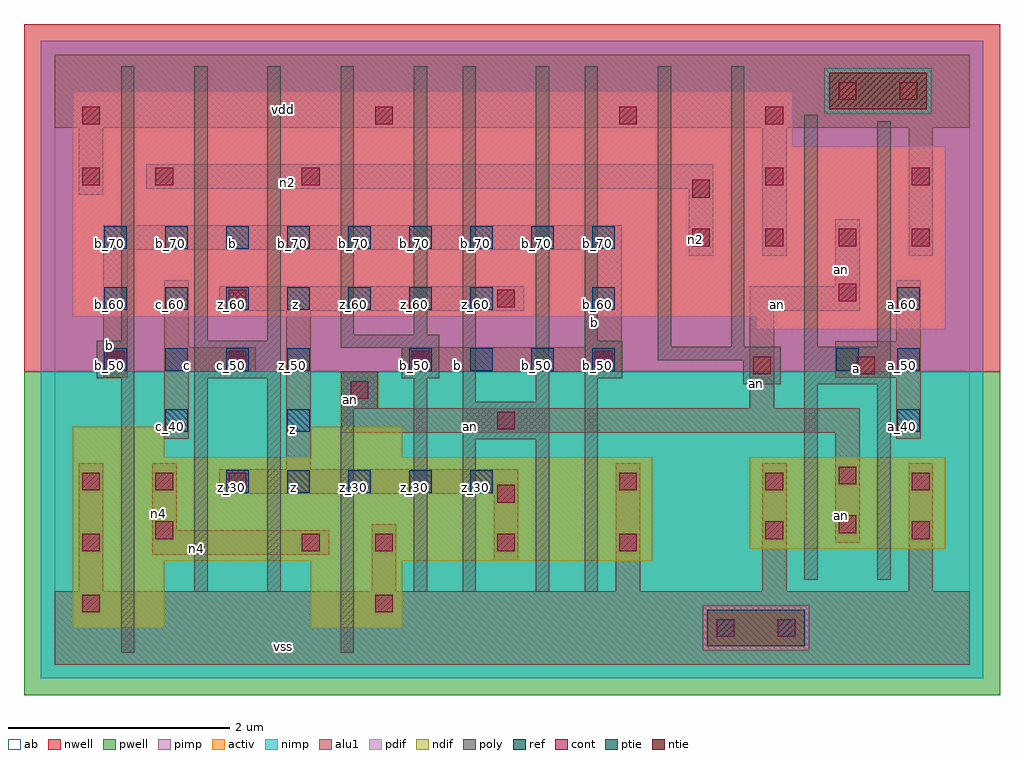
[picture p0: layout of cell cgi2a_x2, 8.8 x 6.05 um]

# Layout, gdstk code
import gdstk
lib = gdstk.Library(unit=1e-6, precision=2.5e-09)
def R(c, l, rs):  # rectangles x0, y0, x1, y1
    for r in rs: c.add(gdstk.rectangle(r[:2], r[2:], *l))
def A(c, l, x, y, w, h, nx, ny, dx, dy):  # array of equal rectangles
    R(c, l, [(x+i*dx, y+j*dy, x+i*dx+w, y+j*dy+h) for i in range(nx) for j in range(ny)])
ndif = (3, 0)
pdif = (4, 0)
ntie = (5, 0)
ptie = (6, 0)
ref = (24, 0)
cont = (25, 0)
pwell = (41, 0)
nwell = (42, 0)
activ = (43, 0)
pimp = (44, 0)
nimp = (45, 0)
poly = (46, 0)
alu1 = (49, 0)
ab = (63, 0)

cgi2a_x2 = lib.new_cell('cgi2a_x2')
R(cgi2a_x2, ndif, [(0.165,0.33,0.99,0.935), (2.31,0.33,3.135,0.935), (0.165,0.935,5.39,1.87), (6.27,1.045,8.03,1.87), (0.165,1.87,0.99,2.145), (2.31,1.87,3.135,2.145)])
R(cgi2a_x2, pdif, [(6.325,3.025,8.03,3.135), (0.165,3.135,8.03,4.675), (0.165,4.675,6.655,5.17)])
R(cgi2a_x2, ntie, [(6.985,5.005,7.865,5.335)])
R(cgi2a_x2, ptie, [(5.885,0.165,6.765,0.495)])
A(cgi2a_x2, ref, 1.55, 1.55, 0.2, 0.2, 5, 1, 0.55, 0)
A(cgi2a_x2, ref, 7.6, 2.1, 0.2, 0.2, 1, 3, 0, 0.55)
A(cgi2a_x2, ref, 0.45, 2.65, 0.2, 0.2, 4, 1, 0.55, 0)
A(cgi2a_x2, ref, 3.2, 2.65, 0.2, 0.2, 4, 1, 0.55, 0)
A(cgi2a_x2, ref, 0.45, 3.2, 0.2, 0.2, 7, 1, 0.55, 0)
A(cgi2a_x2, ref, 0.45, 3.75, 0.2, 0.2, 9, 1, 0.55, 0)
R(cgi2a_x2, ref, [(1,2.1,1.2,2.3), (2.1,2.1,2.3,2.3), (7.05,2.65,7.25,2.85), (4.85,3.2,5.05,3.4)])
A(cgi2a_x2, cont, 2.89, 1.02, 0.16, 0.16, 3, 1, 1.1, 0)
A(cgi2a_x2, cont, 0.25, 1.57, 0.16, 0.16, 3, 1, 0.66, 0)
A(cgi2a_x2, cont, 5.09, 1.57, 0.16, 0.16, 3, 1, 1.32, 0)
A(cgi2a_x2, cont, 1.57, 2.67, 0.16, 0.16, 3, 1, 1.65, 0)
A(cgi2a_x2, cont, 5.75, 3.77, 0.16, 0.16, 4, 1, 0.66, 0)
R(cgi2a_x2, cont, [(5.97,0.25,6.13,0.41), (6.52,0.25,6.68,0.41), (0.25,0.47,0.41,0.63), (2.89,0.47,3.05,0.63), (0.25,1.02,0.41,1.18), (2.23,1.02,2.39,1.18), (0.91,1.13,1.07,1.29), (6.41,1.13,6.57,1.29), (7.73,1.13,7.89,1.29), (7.07,1.185,7.23,1.345), (3.99,1.46,4.15,1.62), (7.07,1.625,7.23,1.785), (3.99,2.12,4.15,2.28), (2.67,2.395,2.83,2.555), (6.3,2.615,6.46,2.775), (7.235,2.615,7.395,2.775), (0.47,2.67,0.63,2.83), (1.57,3.22,1.73,3.38), (3.99,3.22,4.15,3.38), (7.07,3.275,7.23,3.435), (5.75,4.21,5.91,4.37), (0.25,4.32,0.41,4.48), (0.91,4.32,1.07,4.48), (2.23,4.32,2.39,4.48), (6.41,4.32,6.57,4.48), (7.73,4.32,7.89,4.48), (0.25,4.87,0.41,5.03), (2.89,4.87,3.05,5.03), (5.09,4.87,5.25,5.03), (6.41,4.87,6.57,5.03), (7.07,5.09,7.23,5.25), (7.62,5.09,7.78,5.25)])
R(cgi2a_x2, pwell, [(-0.275,-0.275,8.525,2.64)])
R(cgi2a_x2, nwell, [(-0.275,2.64,8.525,5.775)])
R(cgi2a_x2, activ, [(5.885,0.165,6.765,0.495), (0.165,0.33,0.99,0.935), (2.31,0.33,3.135,0.935), (0.165,0.935,5.39,1.87), (6.27,1.045,8.03,1.87), (0.165,1.87,0.99,2.145), (2.31,1.87,3.135,2.145), (6.325,3.025,8.03,3.135), (0.165,3.135,8.03,4.675), (0.165,4.675,6.655,5.17), (6.985,5.005,7.865,5.335)])
R(cgi2a_x2, pimp, [(5.845,0.125,6.805,0.535), (-0.125,2.64,8.375,4.965), (-0.125,4.965,6.945,5.375), (7.905,4.965,8.375,5.375), (-0.125,5.375,8.375,5.625)])
R(cgi2a_x2, nimp, [(-0.125,-0.125,8.375,0.125), (-0.125,0.125,5.845,0.535), (6.805,0.125,8.375,0.535), (-0.125,0.535,8.375,2.64), (6.945,4.965,7.905,5.375)])
A(cgi2a_x2, poly, 0.6, 2.92, 0.12, 2.475, 3, 1, 0.66, 0)
R(cgi2a_x2, poly, [(0.6,0.105,0.72,2.58), (2.58,0.105,2.7,2.305), (1.26,0.655,1.38,2.58), (1.92,0.655,2.04,2.58), (3.24,0.655,3.36,2.58), (3.68,0.655,3.8,2.03), (4.34,0.655,4.46,2.03), (4.78,0.655,4.9,2.58), (6.76,0.765,6.88,2.525), (7.42,0.765,7.54,2.525), (3.68,2.03,4.46,2.37), (2.58,2.305,2.92,2.645), (3.68,2.37,3.8,5.395), (4.34,2.37,4.46,5.395), (6.21,2.525,6.55,2.745), (6.76,2.525,7.54,2.865), (0.38,2.58,0.72,2.92), (1.26,2.58,2.04,2.92), (3.13,2.58,3.47,2.855), (4.78,2.58,5.12,2.92), (5.44,2.745,6.55,2.865), (2.58,2.855,3.47,2.975), (5.44,2.865,5.56,5.395), (6.1,2.865,6.22,5.395), (6.76,2.865,6.88,4.955), (7.42,2.865,7.54,4.9), (4.78,2.92,4.9,5.395), (2.58,2.975,2.7,5.395), (3.24,2.975,3.36,5.395)])
A(cgi2a_x2, alu1, 5.06, 0.66, 0.22, 1.155, 3, 1, 1.32, 0)
R(cgi2a_x2, alu1, [(0,0,8.25,0.66), (0.22,0.66,0.44,1.815), (2.86,0.66,3.08,1.265), (3.96,0.935,4.18,1.54), (0.88,0.99,2.475,1.21), (7.04,1.1,7.26,2.09), (0.88,1.21,1.1,1.815), (1.485,1.54,4.18,1.76), (2.09,1.76,2.31,3.19), (0.99,2.035,1.21,2.64), (7.59,2.035,7.81,2.585), (2.585,2.09,7.26,2.31), (2.585,2.31,2.915,2.64), (6.27,2.31,6.49,3.19), (0.44,2.585,0.66,3.74), (7.04,2.585,7.81,2.915), (0.99,2.64,1.815,2.86), (3.135,2.64,5.115,2.86), (0.99,2.86,1.21,3.465), (4.785,2.86,5.115,3.74), (7.59,2.915,7.81,3.465), (1.485,3.19,4.235,3.41), (6.27,3.19,7.26,3.41), (7.04,3.41,7.26,4.015), (5.72,3.685,5.94,4.29), (6.38,3.685,6.6,4.84), (7.7,3.685,7.92,4.84), (0.44,3.74,5.115,3.96), (0.22,4.235,0.44,4.84), (0.825,4.29,5.94,4.51), (0,4.84,8.25,5.5)])
R(cgi2a_x2, ab, [(0,0,8.25,5.5)])
cgi2a_x2.add(gdstk.Label('vss', (2.0625,0.165), layer=49, texttype=0))
cgi2a_x2.add(gdstk.Label('an', (7.095,1.3475), layer=49, texttype=0))
cgi2a_x2.add(gdstk.Label('n4', (1.2775,1.045), layer=49, texttype=0))
cgi2a_x2.add(gdstk.Label('z', (2.1575,1.595), layer=49, texttype=0))
cgi2a_x2.add(gdstk.Label('an', (3.7525,2.145), layer=49, texttype=0))
cgi2a_x2.add(gdstk.Label('a', (7.2325,2.6675), layer=49, texttype=0))
cgi2a_x2.add(gdstk.Label('an', (6.325,2.53), layer=49, texttype=0))
cgi2a_x2.add(gdstk.Label('an', (2.6675,2.3925), layer=49, texttype=0))
cgi2a_x2.add(gdstk.Label('an', (6.5175,3.245), layer=49, texttype=0))
cgi2a_x2.add(gdstk.Label('b', (3.63,2.695), layer=49, texttype=0))
cgi2a_x2.add(gdstk.Label('an', (7.095,3.56), layer=49, texttype=0))
cgi2a_x2.add(gdstk.Label('n2', (5.775,3.835), layer=49, texttype=0))
cgi2a_x2.add(gdstk.Label('b', (4.8675,3.08), layer=49, texttype=0))
cgi2a_x2.add(gdstk.Label('z', (2.145,2.1175), layer=49, texttype=0))
cgi2a_x2.add(gdstk.Label('n4', (0.935,1.36), layer=49, texttype=0))
cgi2a_x2.add(gdstk.Label('c', (1.195,2.695), layer=49, texttype=0))
cgi2a_x2.add(gdstk.Label('z', (2.1725,3.245), layer=49, texttype=0))
cgi2a_x2.add(gdstk.Label('b', (0.495,2.8725), layer=49, texttype=0))
cgi2a_x2.add(gdstk.Label('b', (1.6075,3.795), layer=49, texttype=0))
cgi2a_x2.add(gdstk.Label('n2', (2.1025,4.345), layer=49, texttype=0))
cgi2a_x2.add(gdstk.Label('vdd', (2.0625,5.005), layer=49, texttype=0))
cgi2a_x2.add(gdstk.Label('z_30', (3.8,1.6), layer=24, texttype=0))
cgi2a_x2.add(gdstk.Label('z_30', (3.25,1.6), layer=24, texttype=0))
cgi2a_x2.add(gdstk.Label('z_30', (2.7,1.6), layer=24, texttype=0))
cgi2a_x2.add(gdstk.Label('z_30', (1.6,1.6), layer=24, texttype=0))
cgi2a_x2.add(gdstk.Label('z_30', (2.15,1.6), layer=24, texttype=0))
cgi2a_x2.add(gdstk.Label('z_40', (2.15,2.15), layer=24, texttype=0))
cgi2a_x2.add(gdstk.Label('z_50', (2.15,2.7), layer=24, texttype=0))
cgi2a_x2.add(gdstk.Label('z_60', (1.6,3.25), layer=24, texttype=0))
cgi2a_x2.add(gdstk.Label('z_60', (2.15,3.25), layer=24, texttype=0))
cgi2a_x2.add(gdstk.Label('z_60', (2.7,3.25), layer=24, texttype=0))
cgi2a_x2.add(gdstk.Label('z_60', (3.25,3.25), layer=24, texttype=0))
cgi2a_x2.add(gdstk.Label('z_60', (3.8,3.25), layer=24, texttype=0))
cgi2a_x2.add(gdstk.Label('c_50', (1.05,2.7), layer=24, texttype=0))
cgi2a_x2.add(gdstk.Label('c_60', (1.05,3.25), layer=24, texttype=0))
cgi2a_x2.add(gdstk.Label('c_50', (1.6,2.7), layer=24, texttype=0))
cgi2a_x2.add(gdstk.Label('c_40', (1.05,2.15), layer=24, texttype=0))
cgi2a_x2.add(gdstk.Label('b_50', (3.25,2.7), layer=24, texttype=0))
cgi2a_x2.add(gdstk.Label('b_50', (3.8,2.7), layer=24, texttype=0))
cgi2a_x2.add(gdstk.Label('b_50', (4.35,2.7), layer=24, texttype=0))
cgi2a_x2.add(gdstk.Label('b_50', (4.9,2.7), layer=24, texttype=0))
cgi2a_x2.add(gdstk.Label('b_60', (4.9,3.25), layer=24, texttype=0))
cgi2a_x2.add(gdstk.Label('b_70', (4.9,3.8), layer=24, texttype=0))
cgi2a_x2.add(gdstk.Label('b_70', (4.35,3.8), layer=24, texttype=0))
cgi2a_x2.add(gdstk.Label('b_70', (3.8,3.8), layer=24, texttype=0))
cgi2a_x2.add(gdstk.Label('b_70', (3.25,3.8), layer=24, texttype=0))
cgi2a_x2.add(gdstk.Label('b_70', (2.7,3.8), layer=24, texttype=0))
cgi2a_x2.add(gdstk.Label('b_70', (2.15,3.8), layer=24, texttype=0))
cgi2a_x2.add(gdstk.Label('b_70', (1.6,3.8), layer=24, texttype=0))
cgi2a_x2.add(gdstk.Label('b_70', (1.05,3.8), layer=24, texttype=0))
cgi2a_x2.add(gdstk.Label('b_70', (0.5,3.8), layer=24, texttype=0))
cgi2a_x2.add(gdstk.Label('b_60', (0.5,3.25), layer=24, texttype=0))
cgi2a_x2.add(gdstk.Label('b_50', (0.5,2.7), layer=24, texttype=0))
cgi2a_x2.add(gdstk.Label('a_50', (7.1,2.7), layer=24, texttype=0))
cgi2a_x2.add(gdstk.Label('a_50', (7.65,2.7), layer=24, texttype=0))
cgi2a_x2.add(gdstk.Label('a_40', (7.65,2.15), layer=24, texttype=0))
cgi2a_x2.add(gdstk.Label('a_60', (7.65,3.25), layer=24, texttype=0))

lib.write_gds('cgi2a_x2.gds')
